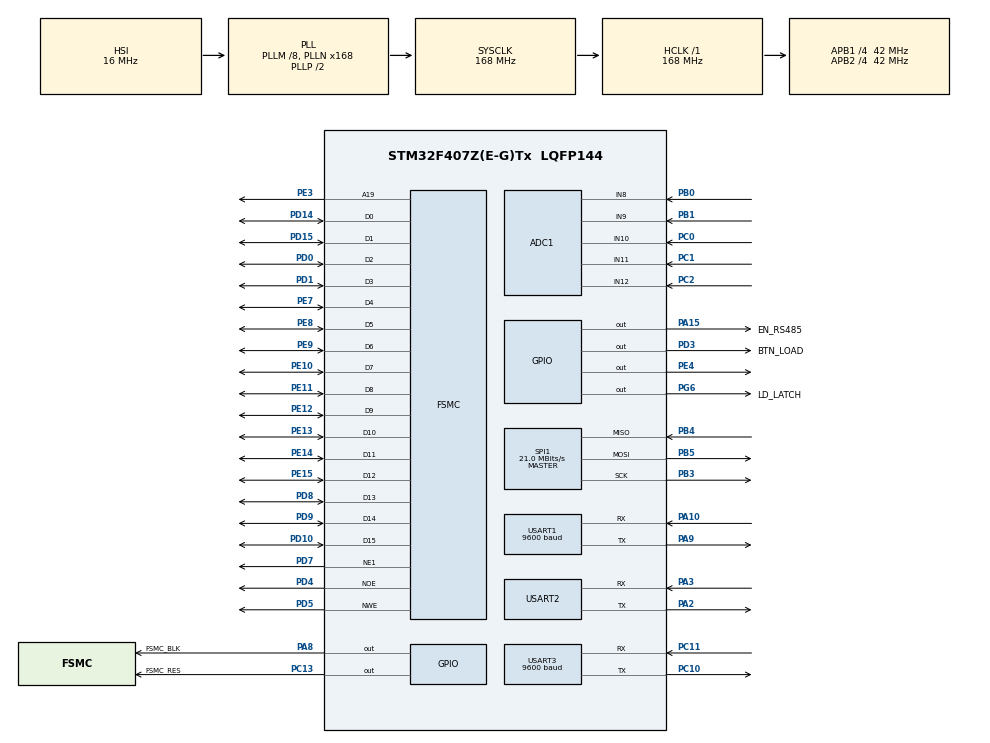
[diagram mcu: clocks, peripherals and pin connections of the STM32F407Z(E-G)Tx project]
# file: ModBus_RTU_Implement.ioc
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ADC1.Channel-0\#ChannelRegularConversion=ADC_CHANNEL_8
ADC1.Channel-1\#ChannelRegularConversion=ADC_CHANNEL_8
ADC1.Channel-2\#ChannelRegularConversion=ADC_CHANNEL_8
ADC1.Channel-3\#ChannelRegularConversion=ADC_CHANNEL_8
ADC1.Channel-4\#ChannelRegularConversion=ADC_CHANNEL_8
ADC1.NbrOfConversion=5
ADC1.NbrOfConversionFlag=1
ADC1.Rank-0\#ChannelRegularConversion=1
ADC1.Rank-1\#ChannelRegularConversion=2
ADC1.Rank-2\#ChannelRegularConversion=3
ADC1.Rank-3\#ChannelRegularConversion=4
ADC1.Rank-4\#ChannelRegularConversion=5
ADC1.SamplingTime-0\#ChannelRegularConversion=ADC_SAMPLETIME_15CYCLES
ADC1.SamplingTime-1\#ChannelRegularConversion=ADC_SAMPLETIME_15CYCLES
ADC1.SamplingTime-2\#ChannelRegularConversion=ADC_SAMPLETIME_15CYCLES
ADC1.SamplingTime-3\#ChannelRegularConversion=ADC_SAMPLETIME_15CYCLES
ADC1.SamplingTime-4\#ChannelRegularConversion=ADC_SAMPLETIME_15CYCLES
ADC1.ScanConvMode=ENABLE
ADC1.master=1
Dma.ADC1.0.Direction=DMA_PERIPH_TO_MEMORY
Dma.ADC1.0.FIFOMode=DMA_FIFOMODE_DISABLE
Dma.ADC1.0.Instance=DMA2_Stream0
Dma.ADC1.0.MemDataAlignment=DMA_MDATAALIGN_HALFWORD
Dma.ADC1.0.MemInc=DMA_MINC_ENABLE
Dma.ADC1.0.Mode=DMA_CIRCULAR
Dma.ADC1.0.PeriphDataAlignment=DMA_PDATAALIGN_HALFWORD
Dma.ADC1.0.PeriphInc=DMA_PINC_DISABLE
Dma.ADC1.0.Priority=DMA_PRIORITY_LOW
Dma.Request0=ADC1
FSMC.AddressSetupTime1=0xf
FSMC.BusTurnAroundDuration1=0
FSMC.DataSetupTime1=60
FSMC.ExtendedAddressSetupTime1=8
FSMC.ExtendedBusTurnAroundDuration1=0
FSMC.ExtendedDataSetupTime1=9
FSMC.ExtendedMode1=FSMC_EXTENDED_MODE_ENABLE
Mcu.Family=STM32F4
Mcu.Name=STM32F407Z(E-G)Tx
Mcu.Package=LQFP144
NVIC.DMA2_Stream0_IRQn=true\:0\:0\:false\:false\:true\:false\:true\:true
NVIC.PriorityGroup=NVIC_PRIORITYGROUP_4
NVIC.TIM3_IRQn=true\:0\:0\:false\:false\:true\:true\:true\:true
NVIC.USART3_IRQn=true\:0\:0\:false\:false\:true\:true\:true\:true
PA10.Mode=Asynchronous
PA10.Signal=USART1_RX
PA13.Mode=Serial_Wire
PA13.Signal=SYS_JTMS-SWDIO
PA14.Mode=Serial_Wire
PA14.Signal=SYS_JTCK-SWCLK
PA15.GPIO_Label=EN_RS485
PA15.Signal=GPIO_Output
PA2.Mode=Asynchronous
PA2.Signal=USART2_TX
PA3.Mode=Asynchronous
PA3.Signal=USART2_RX
PA8.GPIO_Label=FSMC_BLK
PA8.Signal=GPIO_Output
PA9.Mode=Asynchronous
PA9.Signal=USART1_TX
PB0.Signal=ADCx_IN8
PB1.Signal=ADCx_IN9
PB3.Mode=Full_Duplex_Master
PB3.Signal=SPI1_SCK
PB4.Mode=Full_Duplex_Master
PB4.Signal=SPI1_MISO
PB5.Mode=Full_Duplex_Master
PB5.Signal=SPI1_MOSI
PC0.Signal=ADCx_IN10
PC1.Signal=ADCx_IN11
PC10.Mode=Asynchronous
PC10.Signal=USART3_TX
PC11.Mode=Asynchronous
PC11.Signal=USART3_RX
PC13-ANTI_TAMP.GPIO_Label=FSMC_RES
PC13-ANTI_TAMP.Signal=GPIO_Output
PC2.Signal=ADCx_IN12
PD0.Signal=FSMC_D2_DA2
PD1.Signal=FSMC_D3_DA3
PD10.Signal=FSMC_D15_DA15
PD14.Signal=FSMC_D0_DA0
PD15.Signal=FSMC_D1_DA1
PD3.GPIO_Label=BTN_LOAD
PD3.Signal=GPIO_Output
PD4.Signal=FSMC_NOE
PD5.Signal=FSMC_NWE
PD7.Mode=NorPsramChipSelect1_1
PD7.Signal=FSMC_NE1
PD8.Signal=FSMC_D13_DA13
PD9.Signal=FSMC_D14_DA14
PE10.Signal=FSMC_D7_DA7
PE11.Signal=FSMC_D8_DA8
PE12.Signal=FSMC_D9_DA9
PE13.Signal=FSMC_D10_DA10
PE14.Signal=FSMC_D11_DA11
PE15.Signal=FSMC_D12_DA12
PE3.Signal=FSMC_A19
PE4.Signal=GPIO_Output
PE7.Signal=FSMC_D4_DA4
PE8.Signal=FSMC_D5_DA5
PE9.Signal=FSMC_D6_DA6
PG6.GPIO_Label=LD_LATCH
PG6.Signal=GPIO_Output
PH0-OSC_IN.Mode=HSE-External-Oscillator
PH0-OSC_IN.Signal=RCC_OSC_IN
PH1-OSC_OUT.Mode=HSE-External-Oscillator
PH1-OSC_OUT.Signal=RCC_OSC_OUT
ProjectManager.HeapSize=0x200
ProjectManager.StackSize=0x400
ProjectManager.TargetToolchain=STM32CubeIDE
RCC.48MHZClocksFreq_Value=84000000
RCC.AHBFreq_Value=168000000
RCC.APB1CLKDivider=RCC_HCLK_DIV4
RCC.APB1Freq_Value=42000000
RCC.APB1TimFreq_Value=84000000
RCC.APB2CLKDivider=RCC_HCLK_DIV4
RCC.APB2Freq_Value=42000000
RCC.APB2TimFreq_Value=84000000
RCC.CortexFreq_Value=168000000
RCC.HCLKFreq_Value=168000000
RCC.HSE_VALUE=25000000
RCC.HSI_VALUE=16000000
RCC.LSE_VALUE=32768
RCC.PLLM=8
RCC.PLLN=168
RCC.SYSCLKFreq_VALUE=168000000
RCC.SYSCLKSource=RCC_SYSCLKSOURCE_PLLCLK
RCC.VCOOutputFreq_Value=336000000
SH.ADCx_IN10.0=ADC1_IN10,IN10
SH.ADCx_IN11.0=ADC1_IN11,IN11
SH.ADCx_IN12.0=ADC1_IN12,IN12
SH.ADCx_IN8.0=ADC1_IN8,IN8
SH.ADCx_IN9.0=ADC1_IN9,IN9
SH.FSMC_A19.0=FSMC_A19,A19_1
SH.FSMC_D0_DA0.0=FSMC_D0,16b-d1
SH.FSMC_D10_DA10.0=FSMC_D10,16b-d1
SH.FSMC_D11_DA11.0=FSMC_D11,16b-d1
SH.FSMC_D12_DA12.0=FSMC_D12,16b-d1
SH.FSMC_D13_DA13.0=FSMC_D13,16b-d1
SH.FSMC_D14_DA14.0=FSMC_D14,16b-d1
SH.FSMC_D15_DA15.0=FSMC_D15,16b-d1
SH.FSMC_D1_DA1.0=FSMC_D1,16b-d1
SH.FSMC_D2_DA2.0=FSMC_D2,16b-d1
SH.FSMC_D3_DA3.0=FSMC_D3,16b-d1
SH.FSMC_D4_DA4.0=FSMC_D4,16b-d1
SH.FSMC_D5_DA5.0=FSMC_D5,16b-d1
SH.FSMC_D6_DA6.0=FSMC_D6,16b-d1
SH.FSMC_D7_DA7.0=FSMC_D7,16b-d1
SH.FSMC_D8_DA8.0=FSMC_D8,16b-d1
SH.FSMC_D9_DA9.0=FSMC_D9,16b-d1
SH.FSMC_NOE.0=FSMC_NOE,Lcd1
SH.FSMC_NWE.0=FSMC_NWE,Lcd1
SPI1.CalculateBaudRate=21.0 MBits/s
SPI1.Direction=SPI_DIRECTION_2LINES
SPI1.Mode=SPI_MODE_MASTER
SPI1.VirtualType=VM_MASTER
TIM3.Period=99
TIM3.Prescaler=839
USART1.BaudRate=9600
USART1.VirtualMode=VM_ASYNC
USART2.VirtualMode=VM_ASYNC
USART3.BaudRate=9600
USART3.VirtualMode=VM_ASYNC
VP_TIM3_VS_ClockSourceINT.Mode=Internal
board=custom

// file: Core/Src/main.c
/* USER CODE BEGIN Header */
/**
  ******************************************************************************
  * @file           : main.c
  * @brief          : Main program body
  ******************************************************************************
  * @attention
  *
  * Copyright (c) 2024 STMicroelectronics.
  * All rights reserved.
  *
  * This software is licensed under terms that can be found in the LICENSE file
  * in the root directory of this software component.
  * If no LICENSE file comes with this software, it is provided AS-IS.
  *
  ******************************************************************************
  */
/* USER CODE END Header */
#include "main.h"
#include "adc.h"
#include "dma.h"
#include "spi.h"
#include "tim.h"
#include "usart.h"
#include "gpio.h"
#include "fsmc.h"

/* USER CODE BEGIN Includes */
#include "global.h"
#include "sensor.h"
#include "user.h"
#include "master.h"
/* USER CODE END Includes */

void SystemClock_Config(void);
/* USER CODE BEGIN PFP */
void HAL_TIM_PeriodElapsedCallback(TIM_HandleTypeDef *htim);
void HAL_UART_RxCpltCallback(UART_HandleTypeDef *huart);
/* USER CODE END PFP */

/* USER CODE BEGIN 0 */
void TestADC();
void lcd_run();
void master_led7_seg_init();
void master_lcd_init();
/* USER CODE END 0 */

int main(void)
{

  /* MCU Configuration--------------------------------------------------------*/

  /* Reset of all peripherals, Initializes the Flash interface and the Systick. */
  HAL_Init();

  /* Configure the system clock */
  SystemClock_Config();

  /* Initialize all configured peripherals */
  MX_GPIO_Init();
  MX_DMA_Init();
  MX_USART3_UART_Init();
  MX_USART2_UART_Init();
  MX_USART1_UART_Init();
  MX_ADC1_Init();
  MX_FSMC_Init();
  MX_SPI1_Init();
  MX_TIM3_Init();
  /* USER CODE BEGIN 2 */
  master_led7_seg_init();
  master_lcd_init();
  sensor_init();
  f_rs485_fsm_init();
  HAL_TIM_Base_Start_IT(&htim3);
  setTimer(TI_BUTTON_SCAN_TIMER, TI_BUTTON_SCAN_TIME);
  setTimer(TI_7SEG_SCAN_TIMER, TI_7SEG_SCAN_TIME);
  f_master_init();
  /* USER CODE END 2 */

  /* Infinite loop */
  while (1)
  {

    /* USER CODE BEGIN 3 */
	  if(isFlag(TI_BUTTON_SCAN_TIMER)){
		  button_scan();
		  setTimer(TI_BUTTON_SCAN_TIMER, TI_BUTTON_SCAN_TIME);
	  }
	  if(isFlag(TI_7SEG_SCAN_TIMER)){
		  led_7seg_display();
		  setTimer(TI_7SEG_SCAN_TIMER, TI_7SEG_SCAN_TIME);
	  }
	  f_user_interface();
	  f_rs485_fsm();
	  f_master_fsm();
  }
  /* USER CODE END 3 */
}

void SystemClock_Config(void)
{
  RCC_OscInitTypeDef RCC_OscInitStruct = {0};
  RCC_ClkInitTypeDef RCC_ClkInitStruct = {0};

  /** Configure the main internal regulator output voltage
  */
  __HAL_RCC_PWR_CLK_ENABLE();
  __HAL_PWR_VOLTAGESCALING_CONFIG(PWR_REGULATOR_VOLTAGE_SCALE1);

  /** Initializes the RCC Oscillators according to the specified parameters
  * in the RCC_OscInitTypeDef structure.
  */
  RCC_OscInitStruct.OscillatorType = RCC_OSCILLATORTYPE_HSI;
  RCC_OscInitStruct.HSIState = RCC_HSI_ON;
  RCC_OscInitStruct.HSICalibrationValue = RCC_HSICALIBRATION_DEFAULT;
  RCC_OscInitStruct.PLL.PLLState = RCC_PLL_ON;
  RCC_OscInitStruct.PLL.PLLSource = RCC_PLLSOURCE_HSI;
  RCC_OscInitStruct.PLL.PLLM = 8;
  RCC_OscInitStruct.PLL.PLLN = 168;
  RCC_OscInitStruct.PLL.PLLP = RCC_PLLP_DIV2;
  RCC_OscInitStruct.PLL.PLLQ = 4;
  if (HAL_RCC_OscConfig(&RCC_OscInitStruct) != HAL_OK)
  {
    Error_Handler();
  }

  /** Initializes the CPU, AHB and APB buses clocks
  */
  RCC_ClkInitStruct.ClockType = RCC_CLOCKTYPE_HCLK|RCC_CLOCKTYPE_SYSCLK
                              |RCC_CLOCKTYPE_PCLK1|RCC_CLOCKTYPE_PCLK2;
  RCC_ClkInitStruct.SYSCLKSource = RCC_SYSCLKSOURCE_PLLCLK;
  RCC_ClkInitStruct.AHBCLKDivider = RCC_SYSCLK_DIV1;
  RCC_ClkInitStruct.APB1CLKDivider = RCC_HCLK_DIV4;
  RCC_ClkInitStruct.APB2CLKDivider = RCC_HCLK_DIV4;

  if (HAL_RCC_ClockConfig(&RCC_ClkInitStruct, FLASH_LATENCY_5) != HAL_OK)
  {
    Error_Handler();
  }
}

/* USER CODE BEGIN 4 */
uint8_t count_adc = 0;
void TestADC() {
	count_adc = (count_adc + 1) % 20;
	if (count_adc == 0) {
		sensor_read();
		lcd_show_string(10, 100, "Voltage:", RED, BLACK, 16, 0);
		lcd_show_float_num(130, 100, sensor_get_voltage(), 4, RED, BLACK, 16);
		lcd_show_string(10, 120, "Current:", RED, BLACK, 16, 0);
		lcd_show_float_num(130, 120, sensor_get_current(), 4, RED, BLACK, 16);
		lcd_show_string(10, 140, "Light:", RED, BLACK, 16, 0);
		lcd_show_int_num(130, 140, sensor_get_light(), 4, RED, BLACK, 16);
		lcd_show_string(10, 160, "Potentiometer:", RED, BLACK, 16, 0);
		lcd_show_int_num(130, 160, sensor_get_potentiometer(), 4, RED, BLACK,
				16);
		lcd_show_string(10, 180, "Temperature:", RED, BLACK, 16, 0);
		lcd_show_float_num(130, 180, sensor_get_temperature(), 4, RED, BLACK,
				16);
	}
}
void master_led7_seg_init(){
	led_7seg_init();
	led_7seg_set_colon(1);
	led_7seg_debug_turn_off(6);
	led_7seg_debug_turn_off(7);
	led_7seg_debug_turn_off(8);
	led_7seg_set_digit(0, 0, 0 );
	led_7seg_set_digit(0, 1, 0 );
	led_7seg_set_digit(0, 2, 0 );
	led_7seg_set_digit(0, 3, 0 );
}
void master_lcd_init(){
	lcd_init();
	lcd_clear(BLACK);
	lcd_show_string(60, 5, "MASTER: 0x11", RED, BLACK, 24, 0);
	lcd_draw_rectangle(0, 30, 240, 160, RED);
	lcd_draw_rectangle(0, 170, 240, 250, RED);
	lcd_draw_rectangle(0, 250, 240, 320, RED);
	lcd_show_string(10, 40, "DATA:", RED, BLACK, 16, 0);
	lcd_show_string(10, 180, "COMMAND:", RED, BLACK, 16, 0);
	lcd_show_string(10, 260, "SLAVE NOT RESPOND:", RED, BLACK, 16, 0);
	lcd_show_string(10, 200, "Button 1: Set Address", RED, BLACK, 16, 0);
	lcd_show_string(10, 220, "Button 4: Set colon", RED, BLACK, 16, 0);
	lcd_show_string(10, 60, "Temperature:", RED, BLACK, 16, 0);
	lcd_show_float_num(130, 60, 1234, 4, RED, BLACK, 16);
	lcd_show_string(10, 80, "Current:", RED, BLACK, 16, 0);
	lcd_show_float_num(130, 80, 1234, 4, RED, BLACK, 16);
	lcd_show_string(10, 100, "Voltage:", RED, BLACK, 16, 0);
	lcd_show_float_num(130, 100, 1234, 4, RED, BLACK, 16);
	lcd_show_string(10, 120, "Light:", RED, BLACK, 16, 0);
	lcd_show_int_num(150, 120, 12345, 5, RED, BLACK, 16);
	lcd_show_string(10, 140, "Potentiometer:", RED, BLACK, 16, 0);
	lcd_show_int_num(150, 140, 12345, 5, RED, BLACK,16);
}
void HAL_TIM_PeriodElapsedCallback(TIM_HandleTypeDef *htim)
{
	if(htim->Instance == TIM3){
		timerRun();
	}
}

void HAL_UART_RxCpltCallback(UART_HandleTypeDef *huart)
{
	RS485_UART_Callback(huart);
}
/* USER CODE END 4 */

void Error_Handler(void)
{
  __disable_irq();
  while (1)
  {
  }
}
